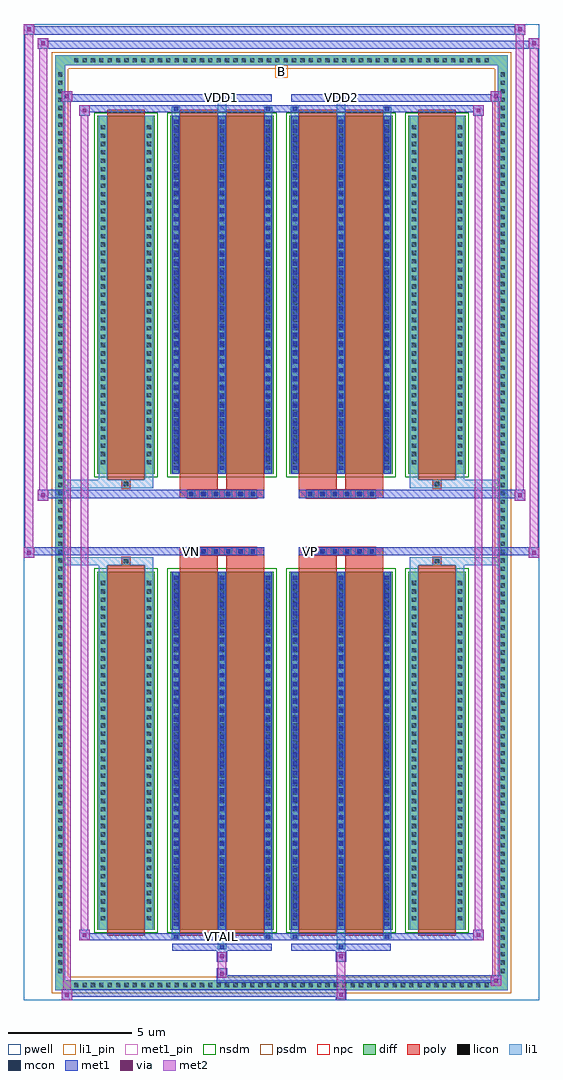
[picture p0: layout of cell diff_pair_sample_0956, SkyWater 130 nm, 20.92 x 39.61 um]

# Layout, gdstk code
import gdstk
lib = gdstk.Library(unit=1e-6, precision=5e-09)
def R(c, l, rs):  # rectangles x0, y0, x1, y1
    for r in rs: c.add(gdstk.rectangle(r[:2], r[2:], *l))
def A(c, l, x, y, w, h, nx, ny, dx, dy):  # array of equal rectangles
    R(c, l, [(x+i*dx, y+j*dy, x+i*dx+w, y+j*dy+h) for i in range(nx) for j in range(ny)])
def P(c, l, *ps):  # polygons
    for p in ps: c.add(gdstk.Polygon(p, *l))
pwell = (64, 44)
diff = (65, 20)
poly = (66, 20)
licon = (66, 44)
li1_pin = (67, 16)
li1 = (67, 20)
mcon = (67, 44)
met1_pin = (68, 16)
met1 = (68, 20)
via = (68, 44)
met2 = (69, 20)
nsdm = (93, 44)
psdm = (94, 20)
npc = (95, 20)

diff_pair_sample_0956 = lib.new_cell('diff_pair_sample_0956')
R(diff_pair_sample_0956, pwell, [(-10.46,-19.37,10.46,20.24), (-7.78,-17.56,-0.01,-0.8), (0.01,-17.56,7.78,-0.8), (-7.78,0.8,-0.01,17.56), (0.01,0.8,7.78,17.56)])
A(diff_pair_sample_0956, diff, -8.535, -18.97, 0.41, 0.41, 50, 2, 0.34, 37.53)
A(diff_pair_sample_0956, diff, -9.19, -18.395, 0.41, 0.41, 1, 108, 0, 0.34)
A(diff_pair_sample_0956, diff, 8.78, -18.395, 0.41, 0.41, 1, 108, 0, 0.34)
R(diff_pair_sample_0956, diff, [(-8.535,-18.97,8.535,-18.56), (-9.19,-18.395,-8.78,18.395), (8.78,-18.395,9.19,18.395), (-7.47,-16.515,-5.15,-1.985), (-4.51,-16.515,-0.32,-1.985), (0.32,-16.515,4.51,-1.985), (5.15,-16.515,7.47,-1.985), (-7.47,1.985,-5.15,16.515), (-4.51,1.985,-0.32,16.515), (0.32,1.985,4.51,16.515), (5.15,1.985,7.47,16.515), (-8.535,18.56,8.535,18.97)])
P(diff_pair_sample_0956, diff, [(9.19,18.97),(-9.19,18.97),(-9.19,-18.56),(-8.78,-18.56),(-8.78,18.56),(8.78,18.56),(8.78,-18.56),(-8.78,-18.56),(-9.19,-18.56),(-9.19,-18.97),(9.19,-18.97)])
A(diff_pair_sample_0956, poly, -3.83, -1.33, 0.33, 0.33, 6, 2, 0.5, 2.33)
A(diff_pair_sample_0956, poly, 1, -1.33, 0.33, 0.33, 6, 2, 0.5, 2.33)
R(diff_pair_sample_0956, poly, [(-7.08,-16.765,-5.54,-1.735), (-4.12,-16.765,-2.58,-1.735), (-2.25,-16.765,-0.71,-1.735), (0.71,-16.765,2.25,-1.735), (2.58,-16.765,4.12,-1.735), (5.54,-16.765,7.08,-1.735), (-6.475,-1.735,-6.145,-1.405), (-6.475,-1.735,-6.145,-1.405), (-4.12,-1.735,-2.58,-1.33), (-2.25,-1.735,-0.71,-1.33), (0.71,-1.735,2.25,-1.33), (2.58,-1.735,4.12,-1.33), (6.145,-1.735,6.475,-1.405), (6.145,-1.735,6.475,-1.405), (-4.12,-1.33,-0.71,-1), (0.71,-1.33,4.12,-1), (-4.12,1,-0.71,1.33), (0.71,1,4.12,1.33), (-4.12,1.33,-2.58,1.735), (-2.25,1.33,-0.71,1.735), (0.71,1.33,2.25,1.735), (2.58,1.33,4.12,1.735), (-6.475,1.405,-6.145,1.735), (-6.475,1.405,-6.145,1.735), (6.145,1.405,6.475,1.735), (6.145,1.405,6.475,1.735), (-7.08,1.735,-5.54,16.765), (-4.12,1.735,-2.58,16.765), (-2.25,1.735,-0.71,16.765), (0.71,1.735,2.25,16.765), (2.58,1.735,4.12,16.765), (5.54,1.735,7.08,16.765)])
A(diff_pair_sample_0956, licon, -8.415, -18.85, 0.17, 0.17, 50, 2, 0.34, 37.53)
A(diff_pair_sample_0956, licon, -9.07, -18.275, 0.17, 0.17, 1, 108, 0, 0.34)
A(diff_pair_sample_0956, licon, 8.9, -18.275, 0.17, 0.17, 1, 108, 0, 0.34)
A(diff_pair_sample_0956, licon, -7.33, -16.135, 0.17, 0.17, 1, 41, 0, 0.34)
A(diff_pair_sample_0956, licon, -5.46, -16.135, 0.17, 0.17, 1, 41, 0, 0.34)
A(diff_pair_sample_0956, licon, -4.37, -16.135, 0.17, 0.17, 3, 41, 1.87, 0.34)
A(diff_pair_sample_0956, licon, 0.46, -16.135, 0.17, 0.17, 3, 41, 1.87, 0.34)
A(diff_pair_sample_0956, licon, 5.29, -16.135, 0.17, 0.17, 1, 41, 0, 0.34)
A(diff_pair_sample_0956, licon, 7.16, -16.135, 0.17, 0.17, 1, 41, 0, 0.34)
A(diff_pair_sample_0956, licon, -3.75, -1.25, 0.17, 0.17, 6, 2, 0.5, 2.33)
A(diff_pair_sample_0956, licon, 1.08, -1.25, 0.17, 0.17, 6, 2, 0.5, 2.33)
A(diff_pair_sample_0956, licon, -7.33, 2.365, 0.17, 0.17, 1, 41, 0, 0.34)
A(diff_pair_sample_0956, licon, -5.46, 2.365, 0.17, 0.17, 1, 41, 0, 0.34)
A(diff_pair_sample_0956, licon, -4.37, 2.365, 0.17, 0.17, 3, 41, 1.87, 0.34)
A(diff_pair_sample_0956, licon, 0.46, 2.365, 0.17, 0.17, 3, 41, 1.87, 0.34)
A(diff_pair_sample_0956, licon, 5.29, 2.365, 0.17, 0.17, 1, 41, 0, 0.34)
A(diff_pair_sample_0956, licon, 7.16, 2.365, 0.17, 0.17, 1, 41, 0, 0.34)
R(diff_pair_sample_0956, licon, [(-6.395,-1.655,-6.225,-1.485), (6.225,-1.655,6.395,-1.485), (-6.395,1.485,-6.225,1.655), (6.225,1.485,6.395,1.655)])
R(diff_pair_sample_0956, li1_pin, [(-0.25,18.06,0.25,18.56)])
A(diff_pair_sample_0956, li1, -8.495, -18.93, 0.33, 0.33, 50, 2, 0.34, 37.53)
A(diff_pair_sample_0956, li1, -9.15, -18.355, 0.33, 0.33, 1, 108, 0, 0.34)
A(diff_pair_sample_0956, li1, 8.82, -18.355, 0.33, 0.33, 1, 108, 0, 0.34)
A(diff_pair_sample_0956, li1, -4.45, -16.515, 0.33, 14.53, 3, 2, 1.87, 18.5)
A(diff_pair_sample_0956, li1, 0.38, -16.515, 0.33, 14.53, 3, 2, 1.87, 18.5)
A(diff_pair_sample_0956, li1, -4.37, -16.355, 0.17, 0.17, 3, 40, 1.87, 0.36)
A(diff_pair_sample_0956, li1, -4.37, -16.355, 0.17, 14.21, 3, 2, 1.87, 18.5)
A(diff_pair_sample_0956, li1, 0.46, -16.355, 0.17, 0.17, 3, 40, 1.87, 0.36)
A(diff_pair_sample_0956, li1, 0.46, -16.355, 0.17, 14.21, 3, 2, 1.87, 18.5)
A(diff_pair_sample_0956, li1, -7.41, -16.215, 0.33, 0.33, 1, 41, 0, 0.34)
A(diff_pair_sample_0956, li1, -5.54, -16.215, 0.33, 0.33, 1, 41, 0, 0.34)
A(diff_pair_sample_0956, li1, -4.45, -16.215, 0.33, 0.33, 3, 41, 1.87, 0.34)
A(diff_pair_sample_0956, li1, 0.38, -16.215, 0.33, 0.33, 3, 41, 1.87, 0.34)
A(diff_pair_sample_0956, li1, 5.21, -16.215, 0.33, 0.33, 1, 41, 0, 0.34)
A(diff_pair_sample_0956, li1, 7.08, -16.215, 0.33, 0.33, 1, 41, 0, 0.34)
A(diff_pair_sample_0956, li1, -3.83, -1.33, 0.33, 0.33, 6, 2, 0.5, 2.33)
A(diff_pair_sample_0956, li1, 1, -1.33, 0.33, 0.33, 6, 2, 0.5, 2.33)
A(diff_pair_sample_0956, li1, -4.37, 2.145, 0.17, 0.17, 3, 40, 1.87, 0.36)
A(diff_pair_sample_0956, li1, 0.46, 2.145, 0.17, 0.17, 3, 40, 1.87, 0.36)
A(diff_pair_sample_0956, li1, -7.41, 2.285, 0.33, 0.33, 1, 41, 0, 0.34)
A(diff_pair_sample_0956, li1, -5.54, 2.285, 0.33, 0.33, 1, 41, 0, 0.34)
A(diff_pair_sample_0956, li1, -4.45, 2.285, 0.33, 0.33, 3, 41, 1.87, 0.34)
A(diff_pair_sample_0956, li1, 0.38, 2.285, 0.33, 0.33, 3, 41, 1.87, 0.34)
A(diff_pair_sample_0956, li1, 5.21, 2.285, 0.33, 0.33, 1, 41, 0, 0.34)
A(diff_pair_sample_0956, li1, 7.08, 2.285, 0.33, 0.33, 1, 41, 0, 0.34)
R(diff_pair_sample_0956, li1, [(-9.19,-18.97,-8.78,-18.56), (-9.19,-18.97,-8.78,-18.56), (-8.78,-18.97,8.78,-18.56), (8.78,-18.97,9.19,-18.56), (8.78,-18.97,9.19,-18.56), (-9.19,-18.56,-8.78,18.56), (8.78,-18.56,9.19,18.56), (-2.58,-17.32,-2.25,-16.515), (-2.5,-17.32,-2.33,-17.15), (2.25,-17.32,2.58,-16.515), (2.33,-17.32,2.5,-17.15), (-4.45,-16.89,-4.12,-16.515), (-4.37,-16.89,-4.2,-16.72), (-0.71,-16.89,-0.38,-16.515), (-0.63,-16.89,-0.46,-16.72), (0.38,-16.89,0.71,-16.515), (0.46,-16.89,0.63,-16.72), (4.12,-16.89,4.45,-16.515), (4.2,-16.89,4.37,-16.72), (-7.41,-16.515,-7.08,-1.985), (-5.54,-16.515,-5.21,-1.985), (5.21,-16.515,5.54,-1.985), (7.08,-16.515,7.41,-1.985), (-7.41,-1.985,-7.08,-1.405), (-5.54,-1.985,-5.21,-1.405), (5.21,-1.985,5.54,-1.405), (7.08,-1.985,7.41,-1.405), (-9.19,-1.735,-6.475,-1.405), (-7.41,-1.735,-6.475,-1.405), (-6.475,-1.735,-6.145,-1.405), (-6.145,-1.735,-5.21,-1.405), (5.21,-1.735,6.145,-1.405), (6.145,-1.735,6.475,-1.405), (6.145,-1.735,9.19,-1.405), (6.475,-1.735,7.41,-1.405), (-9.19,1.405,-6.475,1.735), (-7.41,1.405,-6.475,1.735), (-7.41,1.405,-7.08,1.985), (-6.475,1.405,-6.145,1.735), (-6.145,1.405,-5.21,1.735), (-5.54,1.405,-5.21,1.985), (5.21,1.405,6.145,1.735), (5.21,1.405,5.54,1.985), (6.145,1.405,6.475,1.735), (6.145,1.405,9.19,1.735), (6.475,1.405,7.41,1.735), (7.08,1.405,7.41,1.985), (-7.41,1.985,-7.08,16.515), (-5.54,1.985,-5.21,16.515), (5.21,1.985,5.54,16.515), (7.08,1.985,7.41,16.515), (-4.45,16.515,-4.12,16.89), (-2.58,16.515,-2.25,17.32), (-0.71,16.515,-0.38,16.89), (0.38,16.515,0.71,16.89), (2.25,16.515,2.58,17.32), (4.12,16.515,4.45,16.89), (-4.37,16.72,-4.2,16.89), (-0.63,16.72,-0.46,16.89), (0.46,16.72,0.63,16.89), (4.2,16.72,4.37,16.89), (-2.5,17.15,-2.33,17.32), (2.33,17.15,2.5,17.32), (-9.19,18.56,-8.78,18.97), (-9.19,18.56,-8.78,18.97), (-8.78,18.56,8.78,18.97), (8.78,18.56,9.19,18.97), (8.78,18.56,9.19,18.97)])
A(diff_pair_sample_0956, mcon, -4.37, -16.355, 0.17, 0.17, 3, 40, 1.87, 0.36)
A(diff_pair_sample_0956, mcon, 0.46, -16.355, 0.17, 0.17, 3, 40, 1.87, 0.36)
A(diff_pair_sample_0956, mcon, -3.75, -1.25, 0.17, 0.17, 6, 2, 0.5, 2.33)
A(diff_pair_sample_0956, mcon, 1.08, -1.25, 0.17, 0.17, 6, 2, 0.5, 2.33)
A(diff_pair_sample_0956, mcon, -4.37, 2.145, 0.17, 0.17, 3, 40, 1.87, 0.36)
A(diff_pair_sample_0956, mcon, 0.46, 2.145, 0.17, 0.17, 3, 40, 1.87, 0.36)
R(diff_pair_sample_0956, mcon, [(-2.5,-17.32,-2.33,-17.15), (2.33,-17.32,2.5,-17.15), (-4.37,-16.89,-4.2,-16.72), (-0.63,-16.89,-0.46,-16.72), (0.46,-16.89,0.63,-16.72), (4.2,-16.89,4.37,-16.72), (-4.37,16.72,-4.2,16.89), (-0.63,16.72,-0.46,16.89), (0.46,16.72,0.63,16.89), (4.2,16.72,4.37,16.89), (-2.5,17.15,-2.33,17.32), (2.33,17.15,2.5,17.32)])
R(diff_pair_sample_0956, met1_pin, [(-2.55,-16.93,-2.28,-16.66), (-3.8,-1.29,-3.53,-1.02), (1.03,-1.29,1.3,-1.02), (-2.55,17.11,-2.28,17.38), (2.28,17.11,2.55,17.38)])
A(diff_pair_sample_0956, met1, -4.43, -16.515, 0.29, 14.53, 3, 2, 1.87, 18.5)
A(diff_pair_sample_0956, met1, 0.4, -16.515, 0.29, 14.53, 3, 2, 1.87, 18.5)
A(diff_pair_sample_0956, met1, -4.43, -16.415, 0.29, 0.29, 3, 40, 1.87, 0.36)
A(diff_pair_sample_0956, met1, 0.4, -16.415, 0.29, 0.29, 3, 40, 1.87, 0.36)
A(diff_pair_sample_0956, met1, -3.81, -1.31, 0.29, 0.29, 6, 2, 0.5, 2.33)
A(diff_pair_sample_0956, met1, 1.02, -1.31, 0.29, 0.29, 6, 2, 0.5, 2.33)
A(diff_pair_sample_0956, met1, -4.43, 2.085, 0.29, 0.29, 3, 40, 1.87, 0.36)
A(diff_pair_sample_0956, met1, 0.4, 2.085, 0.29, 0.29, 3, 40, 1.87, 0.36)
R(diff_pair_sample_0956, met1, [(-8.92,-19.37,-8.49,-18.94), (2.2,-19.37,2.63,-18.94), (-8.92,-19.23,2.63,-18.94), (8.49,-18.8,8.92,-18.37), (-2.63,-18.66,8.92,-18.37), (-2.63,-18.52,-2.2,-18.09), (-2.63,-17.81,-2.2,-17.38), (2.2,-17.81,2.63,-17.38), (-4.43,-17.38,-0.4,-17.09), (-2.56,-17.38,-2.27,-17.09), (0.4,-17.38,4.43,-17.09), (2.27,-17.38,2.56,-17.09), (-8.21,-16.95,-7.78,-16.52), (-8.21,-16.95,-4.43,-16.66), (-4.43,-16.95,-4.14,-16.66), (-4.43,-16.95,-0.4,-16.66), (-0.69,-16.95,-0.4,-16.66), (-0.4,-16.95,0.4,-16.66), (0.4,-16.95,0.69,-16.66), (0.4,-16.95,4.43,-16.66), (4.14,-16.95,4.43,-16.66), (4.43,-16.95,8.21,-16.66), (7.78,-16.95,8.21,-16.52), (-10.46,-1.43,-10.03,-1), (10.03,-1.43,10.46,-1), (-10.46,-1.33,-0.71,-1), (-4.12,-1.33,-0.71,-1), (0.71,-1.33,4.12,-1), (0.71,-1.33,10.46,-1), (-9.89,0.9,-9.46,1.33), (9.46,0.9,9.89,1.33), (-9.89,1,-4.12,1.33), (-4.12,1,-0.71,1.33), (0.71,1,4.12,1.33), (4.12,1,9.89,1.33), (-8.21,16.52,-7.78,16.95), (7.78,16.52,8.21,16.95), (-8.21,16.66,-4.43,16.95), (-4.43,16.66,-4.14,16.95), (-4.43,16.66,-0.4,16.95), (-0.69,16.66,-0.4,16.95), (-0.4,16.66,0.4,16.95), (0.4,16.66,0.69,16.95), (0.4,16.66,4.43,16.95), (4.14,16.66,4.43,16.95), (4.43,16.66,8.21,16.95), (-8.92,17.09,-8.49,17.52), (-8.92,17.09,-4.43,17.38), (-4.43,17.09,-0.4,17.38), (-2.56,17.09,-2.27,17.38), (0.4,17.09,4.43,17.38), (2.27,17.09,2.56,17.38), (4.43,17.09,8.92,17.38), (8.49,17.09,8.92,17.52), (-9.89,19.24,-9.46,19.67), (-9.89,19.24,-7.78,19.57), (-7.78,19.24,7.78,19.57), (7.78,19.24,10.46,19.57), (10.03,19.24,10.46,19.67), (-10.46,19.81,-10.03,20.24), (-10.46,19.81,-7.78,20.14), (-7.78,19.81,7.78,20.14), (7.78,19.81,9.89,20.14), (9.46,19.81,9.89,20.24)])
R(diff_pair_sample_0956, via, [(-8.78,-19.23,-8.63,-19.08), (2.34,-19.23,2.49,-19.08), (8.63,-18.66,8.78,-18.51), (-2.49,-18.38,-2.34,-18.23), (-2.49,-17.67,-2.34,-17.52), (2.34,-17.67,2.49,-17.52), (-8.07,-16.81,-7.92,-16.66), (7.92,-16.81,8.07,-16.66), (-10.32,-1.29,-10.17,-1.14), (10.17,-1.29,10.32,-1.14), (-9.75,1.04,-9.6,1.19), (9.6,1.04,9.75,1.19), (-8.07,16.66,-7.92,16.81), (7.92,16.66,8.07,16.81), (-8.78,17.23,-8.63,17.38), (8.63,17.23,8.78,17.38), (-9.75,19.38,-9.6,19.53), (10.17,19.38,10.32,19.53), (-10.32,19.95,-10.17,20.1), (9.6,19.95,9.75,20.1)])
R(diff_pair_sample_0956, met2, [(-8.92,-19.37,-8.49,-18.94), (-8.85,-19.37,-8.56,17.52), (-8.56,-19.37,-8.49,-18.94), (-8.87,-19.32,-8.54,-18.99), (2.25,-19.32,2.58,-18.99), (2.25,-18.99,2.58,-17.76), (8.49,-18.8,8.92,-18.37), (8.56,-18.8,8.85,17.52), (8.85,-18.8,8.92,-18.37), (8.54,-18.75,8.87,-18.42), (-2.58,-18.47,-2.25,-18.14), (-2.58,-18.14,-2.25,-17.76), (-2.58,-17.76,-2.25,-17.43), (2.25,-17.76,2.58,-17.43), (-8.21,-16.95,-7.78,-16.52), (-8.14,-16.95,-7.85,16.95), (-7.85,-16.95,-7.78,-16.52), (7.78,-16.95,8.21,-16.52), (7.85,-16.95,8.14,16.95), (8.14,-16.95,8.21,-16.52), (-8.16,-16.9,-7.83,-16.57), (7.83,-16.9,8.16,-16.57), (-10.46,-1.43,-10.03,-1), (-10.41,-1.43,-10.08,20.24), (-10.08,-1.43,-10.03,-1), (10.03,-1.43,10.46,-1), (10.08,-1.43,10.41,19.67), (10.41,-1.43,10.46,-1), (-10.41,-1.38,-10.08,-1.05), (10.08,-1.38,10.41,-1.05), (-9.89,0.9,-9.46,1.33), (-9.84,0.9,-9.51,19.67), (-9.51,0.9,-9.46,1.33), (9.46,0.9,9.89,1.33), (9.51,0.9,9.84,20.24), (9.84,0.9,9.89,1.33), (-9.84,0.95,-9.51,1.28), (9.51,0.95,9.84,1.28), (-8.21,16.52,-7.78,16.95), (-7.85,16.52,-7.78,16.95), (7.78,16.52,8.21,16.95), (8.14,16.52,8.21,16.95), (-8.16,16.57,-7.83,16.9), (7.83,16.57,8.16,16.9), (-8.92,17.09,-8.49,17.52), (-8.56,17.09,-8.49,17.52), (8.49,17.09,8.92,17.52), (8.85,17.09,8.92,17.52), (-8.87,17.14,-8.54,17.47), (8.54,17.14,8.87,17.47), (-9.89,19.24,-9.46,19.67), (-9.51,19.24,-9.46,19.67), (10.03,19.24,10.46,19.67), (10.41,19.24,10.46,19.67), (-9.84,19.29,-9.51,19.62), (10.08,19.29,10.41,19.62), (-10.46,19.81,-10.03,20.24), (-10.08,19.81,-10.03,20.24), (9.46,19.81,9.89,20.24), (9.84,19.81,9.89,20.24), (-10.41,19.86,-10.08,20.19), (9.51,19.86,9.84,20.19)])
R(diff_pair_sample_0956, nsdm, [(-7.6,-16.645,-5.02,-1.855), (-4.64,-16.645,-0.19,-1.855), (0.19,-16.645,4.64,-1.855), (5.02,-16.645,7.6,-1.855), (-7.6,1.855,-5.02,16.645), (-4.64,1.855,-0.19,16.645), (0.19,1.855,4.64,16.645), (5.02,1.855,7.6,16.645)])
P(diff_pair_sample_0956, psdm, [(9.32,19.1),(-9.32,19.1),(-9.32,-18.43),(-8.65,-18.43),(-8.65,18.43),(8.65,18.43),(8.65,-18.43),(-8.65,-18.43),(-9.32,-18.43),(-9.32,-19.1),(9.32,-19.1)])
A(diff_pair_sample_0956, npc, -3.85, -1.35, 0.37, 0.37, 6, 2, 0.5, 2.33)
A(diff_pair_sample_0956, npc, 0.98, -1.35, 0.37, 0.37, 6, 2, 0.5, 2.33)
R(diff_pair_sample_0956, npc, [(-6.495,-1.755,-6.125,-1.385), (6.125,-1.755,6.495,-1.385), (-3.85,-1.35,-2.98,-0.98), (-3.85,-1.35,-2.98,-0.98), (-3.35,-1.35,-2.48,-0.98), (-3.35,-1.35,-2.48,-0.98), (-2.85,-1.35,-1.98,-0.98), (-2.85,-1.35,-1.98,-0.98), (-2.35,-1.35,-1.48,-0.98), (-2.35,-1.35,-1.48,-0.98), (-1.85,-1.35,-0.98,-0.98), (-1.85,-1.35,-0.98,-0.98), (0.98,-1.35,1.85,-0.98), (0.98,-1.35,1.85,-0.98), (1.48,-1.35,2.35,-0.98), (1.48,-1.35,2.35,-0.98), (1.98,-1.35,2.85,-0.98), (1.98,-1.35,2.85,-0.98), (2.48,-1.35,3.35,-0.98), (2.48,-1.35,3.35,-0.98), (2.98,-1.35,3.85,-0.98), (2.98,-1.35,3.85,-0.98), (-3.85,0.98,-2.98,1.35), (-3.85,0.98,-2.98,1.35), (-3.35,0.98,-2.48,1.35), (-3.35,0.98,-2.48,1.35), (-2.85,0.98,-1.98,1.35), (-2.85,0.98,-1.98,1.35), (-2.35,0.98,-1.48,1.35), (-2.35,0.98,-1.48,1.35), (-1.85,0.98,-0.98,1.35), (-1.85,0.98,-0.98,1.35), (0.98,0.98,1.85,1.35), (0.98,0.98,1.85,1.35), (1.48,0.98,2.35,1.35), (1.48,0.98,2.35,1.35), (1.98,0.98,2.85,1.35), (1.98,0.98,2.85,1.35), (2.48,0.98,3.35,1.35), (2.48,0.98,3.35,1.35), (2.98,0.98,3.85,1.35), (2.98,0.98,3.85,1.35), (-6.495,1.385,-6.125,1.755), (6.125,1.385,6.495,1.755)])
diff_pair_sample_0956.add(gdstk.Label('VTAIL', (-2.415,-16.795), layer=68, texttype=5))
diff_pair_sample_0956.add(gdstk.Label('VN', (-3.665,-1.155), layer=68, texttype=5))
diff_pair_sample_0956.add(gdstk.Label('VP', (1.165,-1.155), layer=68, texttype=5))
diff_pair_sample_0956.add(gdstk.Label('B', (0,18.31), layer=67, texttype=5))
diff_pair_sample_0956.add(gdstk.Label('VDD2', (2.415,17.245), layer=68, texttype=5))
diff_pair_sample_0956.add(gdstk.Label('VDD1', (-2.415,17.245), layer=68, texttype=5))

lib.write_gds('diff_pair_sample_0956.gds')
